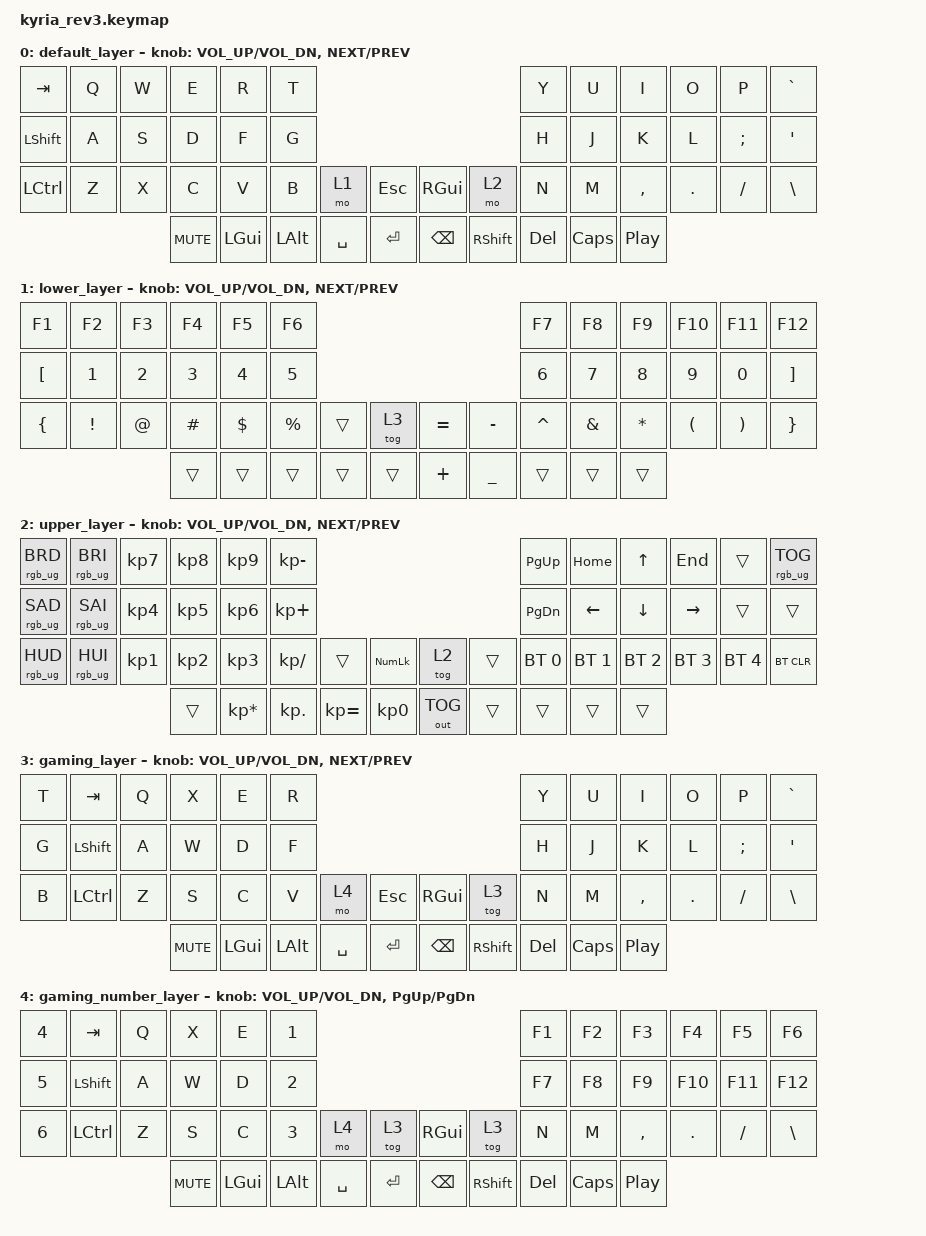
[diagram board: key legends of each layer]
/*
 * Copyright (c) 2023 The ZMK Contributors
 *
 * SPDX-License-Identifier: MIT
 */

#include <behaviors.dtsi>
#include <dt-bindings/zmk/bt.h>
#include <dt-bindings/zmk/keys.h>
#include <dt-bindings/zmk/ext_power.h>
#include <dt-bindings/zmk/mouse.h>
#include <dt-bindings/zmk/rgb.h>
#include <dt-bindings/led/led.h>
#include <dt-bindings/zmk/outputs.h>

/*
* &led_strip {
*    // chain-length = <6>; // Uncomment if only underglow
*    chain-length = <31>; // Uncomment if using both per-key and underglow LEDs
*    // chain-length = <25>; // Uncomment if using only per-key LEDs.
* };
*/

/ {
    keymap {
        compatible = "zmk,keymap";

        default_layer {
            // ---------------------------------------------------------------------------------------------------------------------------------
            // |  ESC  |  Q  |  W  |  E   |  R   |  T   |                                          |  Y   |  U    |  I    |  O   |   P   |   \  |
            // |  TAB  |  A  |  S  |  D   |  F   |  G   |                                          |  H   |  J    |  K    |  L   |   ;   |   '  |
            // | SHIFT |  Z  |  X  |  C   |  V   |  B   | L SHIFT | L SHIFT |  | LAYER 1 | L SHIFT |  N   |  M    |  ,    |  .   |   /   | CTRL |
            //                     | GUI  | DEL  | RET  |  SPACE  |   ESC   |  |   RET   |  SPACE  | TAB  | BSPC  | R-ALT |
            bindings = <
            &kp TAB   &kp Q &kp W &kp E        &kp R      &kp T                                                     &kp Y    &kp U    &kp I     &kp O   &kp P    &kp GRAVE
            &kp LSHFT &kp A &kp S &kp D        &kp F      &kp G                                                     &kp H    &kp J    &kp K     &kp L   &kp SEMI &kp SQT
            &kp LCTRL &kp Z &kp X &kp C        &kp V      &kp B      &mo 1       &kp ESC       &kp RGUI   &mo 2     &kp N    &kp M    &kp COMMA &kp DOT &kp FSLH &kp BSLH
                                  &kp C_MUTE   &kp LGUI   &kp LALT   &kp SPACE   &kp RET       &kp BSPC   &kp RSHFT &kp  DEL &kp CAPS &kp C_PP
            >;

            sensor-bindings = <&inc_dec_kp C_VOL_UP C_VOL_DN &inc_dec_kp C_NEXT C_PREV>;
        };
        lower_layer {
            // ---------------------------------------------------------------------------------------------------------------------------------
            // |       |      |BT_CLR|BTSEL0|BTSEL1|BTSEL2|                                         |      |      |      |      |      |      |
            // |       |      |      |BTSEL3|BTSEL4|      |                                         |      |      |      |      |      |      |
            // |       |      |      |      |      |      |      |      |      |      |      |      |      |      |      |      |      |      |
            //                       |      |      |      |      |      |      |      |      |      |      |      |      |
            bindings = <
            &kp F1     &kp F2     &kp F3  &kp F4     &kp F5    &kp F6                                             &kp F7          &kp F8          &kp F9    &kp F10   &kp F11   &kp F12
            &kp LBKT   &kp N1     &kp N2  &kp N3     &kp N4    &kp N5                                             &kp N6          &kp N7          &kp N8    &kp N9    &kp N0    &kp RBKT
            &kp LBRC   &kp EXCL   &kp AT  &kp POUND  &kp DLLR  &kp PRCNT  &trans &tog 3     &kp EQUAL &kp MINUS   &kp CARET       &kp AMPS        &kp ASTRK &kp LPAR  &kp RPAR  &kp RBRC
                                          &trans     &trans    &trans     &trans &trans     &kp PLUS  &kp UNDER   &trans          &trans          &trans
            >;

            sensor-bindings = <&inc_dec_kp C_VOL_UP C_VOL_DN &inc_dec_kp C_NEXT C_PREV>;
        };

        upper_layer {
            // ---------------------------------------------------------------------------------------------------------------------------------
            // |       |      |BT_CLR|BTSEL0|BTSEL1|BTSEL2|                                         |      |      |      |      |      |      |
            // |       |      |      |BTSEL3|BTSEL4|      |                                         |      |      |      |      |      |      |
            // |       |      |      |      |      |      |      |      |      |      |      |      |      |      |      |      |      |      |
            //                       |      |      |      |      |      |      |      |      |      |      |      |      |
            bindings = <
            &rgb_ug RGB_BRD &rgb_ug RGB_BRI &kp KP_N7      &kp KP_N8    &kp KP_N9       &kp KP_MINUS                                                    &kp PG_UP    &kp HOME     &kp UP       &kp END      &trans        &rgb_ug RGB_TOG
            &rgb_ug RGB_SAD &rgb_ug RGB_SAI &kp KP_N4      &kp KP_N5    &kp KP_N6       &kp KP_PLUS                                                     &kp PG_DN    &kp LEFT     &kp DOWN     &kp RIGHT    &trans        &trans
            &rgb_ug RGB_HUD &rgb_ug RGB_HUI &kp KP_N1      &kp KP_N2    &kp KP_N3       &kp KP_DIVIDE &trans       &kp KP_NUM      &tog 2        &trans &bt BT_SEL 0 &bt BT_SEL 1 &bt BT_SEL 2 &bt BT_SEL 3 &bt BT_SEL 4  &bt BT_CLR
                                                           &trans       &kp KP_MULTIPLY &kp KP_DOT    &kp KP_EQUAL &kp KP_N0       &out OUT_TOG  &trans &trans       &trans       &trans
            >;

            sensor-bindings = <&inc_dec_kp C_VOL_UP C_VOL_DN &inc_dec_kp C_NEXT C_PREV>;
        };

        gaming_layer {
            // ---------------------------------------------------------------------------------------------------------------------------------
            // |       |      |BT_CLR|BTSEL0|BTSEL1|BTSEL2|                                         |      |      |      |      |      |      |
            // |       |      |      |BTSEL3|BTSEL4|      |                                         |      |      |      |      |      |      |
            // |       |      |      |      |      |      |      |      |      |      |      |      |      |      |      |      |      |      |
            //                       |      |      |      |      |      |      |      |      |      |      |      |      |
            bindings = <
            &kp T      &kp TAB   &kp Q  &kp X      &kp E    &kp R                                               &kp Y    &kp U    &kp I     &kp O   &kp P    &kp GRAVE
            &kp G      &kp LSHFT &kp A  &kp W      &kp D    &kp F                                               &kp H    &kp J    &kp K     &kp L   &kp SEMI &kp SQT
            &kp B      &kp LCTRL &kp Z  &kp S      &kp C    &kp V    &mo 4       &kp ESC    &kp RGUI  &tog 3    &kp N    &kp M    &kp COMMA &kp DOT &kp FSLH &kp BSLH
                                        &kp C_MUTE &kp LGUI &kp LALT &kp SPACE   &kp RET    &kp BSPC  &kp RSHFT &kp  DEL &kp CAPS &kp C_PP
            >;

            sensor-bindings = <&inc_dec_kp C_VOL_UP C_VOL_DN &inc_dec_kp C_NEXT C_PREV>;
        };

        gaming_number_layer {
            // ---------------------------------------------------------------------------------------------------------------------------------
            // |       |      |BT_CLR|BTSEL0|BTSEL1|BTSEL2|                                         |      |      |      |      |      |      |
            // |       |      |      |BTSEL3|BTSEL4|      |                                         |      |      |      |      |      |      |
            // |       |      |      |      |      |      |      |      |      |      |      |      |      |      |      |      |      |      |
            //                       |      |      |      |      |      |      |      |      |      |      |      |      |
            bindings = <
            &kp N4      &kp TAB   &kp Q  &kp X      &kp E    &kp N1                                              &kp F1     &kp F2    &kp F3     &kp F4     &kp F5    &kp F6
            &kp N5      &kp LSHFT &kp A  &kp W      &kp D    &kp N2                                              &kp F7     &kp F8    &kp F9     &kp F10    &kp F11   &kp F12
            &kp N6      &kp LCTRL &kp Z  &kp S      &kp C    &kp N3   &mo 4       &tog 3     &kp RGUI  &tog 3    &kp N      &kp M     &kp COMMA  &kp DOT &kp FSLH &kp BSLH
                                         &kp C_MUTE &kp LGUI &kp LALT &kp SPACE   &kp RET    &kp BSPC  &kp RSHFT &kp  DEL   &kp CAPS  &kp C_PP
            >;

            sensor-bindings = <&inc_dec_kp C_VOL_UP C_VOL_DN &inc_dec_kp PG_UP PG_DN>;
        };
    };
};
